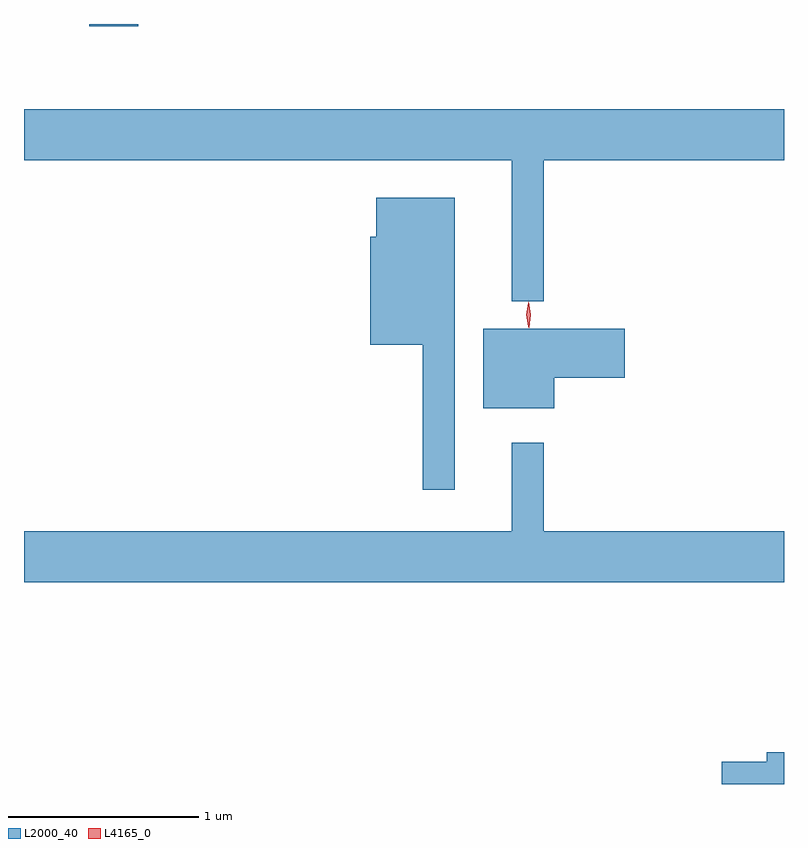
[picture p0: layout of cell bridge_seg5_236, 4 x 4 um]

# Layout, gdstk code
import gdstk
lib = gdstk.Library(unit=1e-6, precision=1e-09)
def R(c, l, rs):  # rectangles x0, y0, x1, y1
    for r in rs: c.add(gdstk.rectangle(r[:2], r[2:], *l))
def P(c, l, *ps):  # polygons
    for p in ps: c.add(gdstk.Polygon(p, *l))
L2000_40 = (2000, 40)
L4165_0 = (4165, 0)

bridge_seg5_236 = lib.new_cell('bridge_seg5_236')
R(bridge_seg5_236, L2000_40, [(1008.916,1528.541,1009.174,1528.553)])
P(bridge_seg5_236, L2000_40, [(1011.309,1527.836),(1012.573,1527.836),(1012.573,1528.104),(1008.573,1528.104),(1008.573,1527.836),(1011.141,1527.836),(1011.141,1527.093),(1011.309,1527.093)],
  [(1010.839,1527.639),(1010.426,1527.639),(1010.426,1527.434),(1010.396,1527.434),(1010.396,1526.866),(1010.671,1526.866),(1010.671,1526.103),(1010.839,1526.103)],
  [(1011.364,1526.691),(1011.734,1526.691),(1011.734,1526.949),(1010.991,1526.949),(1010.991,1526.531),(1011.364,1526.531)],
  [(1012.573,1525.884),(1011.309,1525.884),(1011.309,1526.348),(1011.141,1526.348),(1011.141,1525.884),(1008.573,1525.884),(1008.573,1525.616),(1012.573,1525.616)],
  [(1012.573,1524.719),(1012.481,1524.719),(1012.481,1524.669),(1012.246,1524.669),(1012.246,1524.553),(1012.573,1524.553)])
P(bridge_seg5_236, L4165_0, [(1011.23,1526.954),(1011.23,1526.954),(1011.22,1527.022),(1011.229,1527.09),(1011.229,1527.09),(1011.23,1527.09),(1011.24,1527.022),(1011.231,1526.954)],
  [(1011.227,1526.96),(1011.227,1526.96),(1011.217,1527.023),(1011.227,1527.086),(1011.227,1527.087),(1011.228,1527.086),(1011.237,1527.023),(1011.228,1526.96)])

lib.write_gds('bridge_seg5_236.gds')
